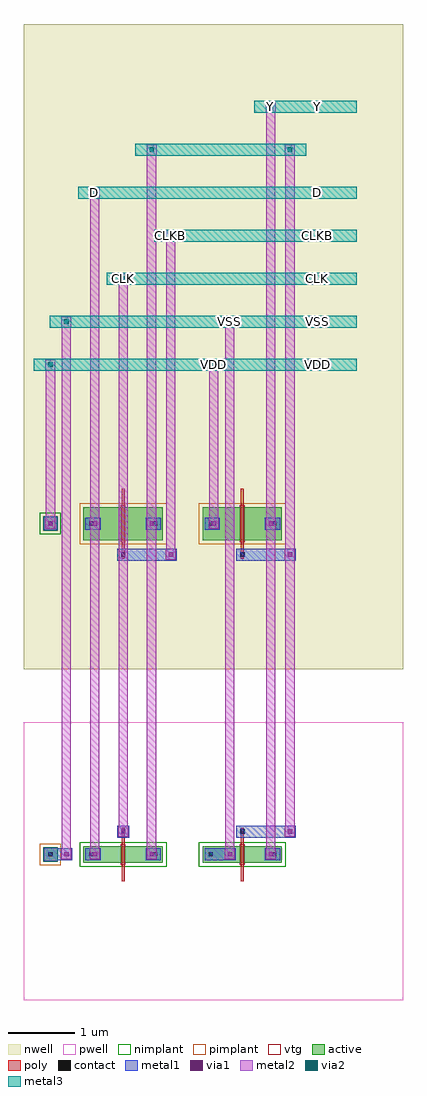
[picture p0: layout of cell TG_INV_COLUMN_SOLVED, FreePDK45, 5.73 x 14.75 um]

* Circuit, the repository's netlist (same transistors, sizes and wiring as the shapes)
.subckt TG_INV_COLUMN_SOLVED VDD VSS D CLK CLKB Y
M0 X CLKB D VDD PMOS_VTG W=0.5U L=0.05U
M1 X CLK D VSS NMOS_VTG W=0.25U L=0.05U
M2 Y X VDD VDD PMOS_VTG W=0.5U L=0.05U
M3 Y X VSS VSS NMOS_VTG W=0.25U L=0.05U
.ends TG_INV_COLUMN_SOLVED
.end

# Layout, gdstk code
import gdstk
lib = gdstk.Library(unit=1e-6, precision=5e-10)
def R(c, l, rs):  # rectangles x0, y0, x1, y1
    for r in rs: c.add(gdstk.rectangle(r[:2], r[2:], *l))
def A(c, l, x, y, w, h, nx, ny, dx, dy):  # array of equal rectangles
    R(c, l, [(x+i*dx, y+j*dy, x+i*dx+w, y+j*dy+h) for i in range(nx) for j in range(ny)])
active = (1, 0)
pwell = (2, 0)
nwell = (3, 0)
nimplant = (4, 0)
pimplant = (5, 0)
vtg = (6, 0)
poly = (9, 0)
contact = (10, 0)
metal1 = (11, 0)
via1 = (12, 0)
metal2 = (13, 0)
via2 = (14, 0)
metal3 = (15, 0)

tg_inv_column_solved = lib.new_cell('TG_INV_COLUMN_SOLVED')
R(tg_inv_column_solved, active, [(0.6,1.875,1.8,2.125), (2.4,1.875,3.6,2.125), (-0.01,1.89,0.21,2.11), (0.6,6.75,1.8,7.25), (2.4,6.75,3.6,7.25), (-0.01,6.89,0.21,7.11)])
R(tg_inv_column_solved, pwell, [(-0.3,-0.2,5.43,4)])
R(tg_inv_column_solved, nwell, [(-0.3,4.8,5.43,14.55)])
R(tg_inv_column_solved, nimplant, [(0.54,1.815,1.86,2.185), (2.34,1.815,3.66,2.185), (-0.06,6.84,0.26,7.16)])
R(tg_inv_column_solved, pimplant, [(-0.06,1.84,0.26,2.16), (0.54,6.69,1.86,7.31), (2.34,6.69,3.66,7.31)])
R(tg_inv_column_solved, vtg, [(1.165,1.845,1.235,2.155), (2.965,1.845,3.035,2.155), (1.165,6.72,1.235,7.28), (2.965,6.72,3.035,7.28)])
R(tg_inv_column_solved, poly, [(1.175,1.595,1.225,2.405), (2.975,1.595,3.025,2.405), (1.175,6.47,1.225,7.53), (2.975,6.47,3.025,7.53)])
R(tg_inv_column_solved, contact, [(0.07,1.97,0.135,2.035), (0.69,1.97,0.755,2.035), (1.65,1.97,1.715,2.035), (2.49,1.97,2.555,2.035), (3.45,1.97,3.515,2.035), (1.17,2.315,1.235,2.38), (2.97,2.315,3.035,2.38), (1.17,6.5,1.235,6.565), (2.97,6.5,3.035,6.565), (0.07,6.97,0.135,7.035), (0.69,6.97,0.755,7.035), (1.65,6.97,1.715,7.035), (2.49,6.97,2.555,7.035), (3.45,6.97,3.515,7.035)])
R(tg_inv_column_solved, metal1, [(0,1.9,0.2,2.1), (0.1,1.91,0.34,2.09), (0.1,1.91,0.34,2.09), (0.1,1.91,0.34,2.09), (0.25,1.91,0.43,2.09), (0.25,1.91,0.43,2.09), (0.25,1.91,0.43,2.09), (0.63,1.91,0.81,2.09), (0.68,1.91,0.86,2.09), (1.54,1.91,1.72,2.09), (1.59,1.91,1.77,2.09), (2.43,1.91,2.61,2.09), (2.57,1.91,2.81,2.09), (2.72,1.91,2.9,2.09), (3.34,1.91,3.52,2.09), (3.39,1.91,3.57,2.09), (1.11,2.255,1.29,2.435), (1.11,2.255,1.29,2.435), (2.91,2.255,3.09,2.435), (3,2.255,3.72,2.435), (3.63,2.255,3.81,2.435), (1.11,6.44,1.29,6.62), (1.2,6.44,1.92,6.62), (1.83,6.44,2.01,6.62), (2.91,6.44,3.09,6.62), (3,6.44,3.72,6.62), (3.63,6.44,3.81,6.62), (0,6.9,0.2,7.1), (0.01,6.91,0.19,7.09), (0.01,6.91,0.19,7.09), (0.01,6.91,0.19,7.09), (0.63,6.91,0.81,7.09), (0.68,6.91,0.86,7.09), (1.54,6.91,1.72,7.09), (1.59,6.91,1.77,7.09), (2.43,6.91,2.61,7.09), (2.48,6.91,2.66,7.09), (3.34,6.91,3.52,7.09), (3.39,6.91,3.57,7.09)])
R(tg_inv_column_solved, via1, [(0.31,1.97,0.375,2.035), (0.31,1.97,0.375,2.035), (0.31,1.97,0.375,2.035), (0.74,1.97,0.805,2.035), (1.6,1.97,1.665,2.035), (2.78,1.97,2.845,2.035), (3.4,1.97,3.465,2.035), (1.17,2.315,1.235,2.38), (3.69,2.315,3.755,2.38), (1.89,6.5,1.955,6.565), (3.69,6.5,3.755,6.565), (0.07,6.97,0.135,7.035), (0.07,6.97,0.135,7.035), (0.07,6.97,0.135,7.035), (0.74,6.97,0.805,7.035), (1.6,6.97,1.665,7.035), (2.54,6.97,2.605,7.035), (3.4,6.97,3.465,7.035)])
A(tg_inv_column_solved, metal2, 0.695, 1.925, 0.15, 0.15, 1, 3, 0, 5)
R(tg_inv_column_solved, metal2, [(0.265,1.925,0.415,2.075), (0.265,1.925,0.415,2.075), (0.265,1.925,0.415,2.075), (1.555,1.925,1.705,2.075), (2.735,1.925,2.885,2.075), (3.355,1.925,3.505,2.075), (0.27,2,0.41,10.05), (0.27,2,0.41,10.05), (0.27,2,0.41,10.05), (0.7,2,0.84,12), (1.56,2,1.7,12.65), (2.74,2,2.88,10.05), (3.36,2,3.5,13.3), (1.125,2.27,1.275,2.42), (3.645,2.27,3.795,2.42), (1.13,2.345,1.27,10.7), (3.65,2.345,3.79,12.65), (1.845,6.455,1.995,6.605), (3.645,6.455,3.795,6.605), (1.85,6.53,1.99,11.35), (3.65,6.53,3.79,12.65), (0.025,6.925,0.175,7.075), (0.025,6.925,0.175,7.075), (0.025,6.925,0.175,7.075), (1.555,6.925,1.705,7.075), (2.495,6.925,2.645,7.075), (3.355,6.925,3.505,7.075), (0.03,7,0.17,9.4), (0.03,7,0.17,9.4), (0.03,7,0.17,9.4), (0.7,7,0.84,12), (1.56,7,1.7,12.65), (2.5,7,2.64,9.4), (3.36,7,3.5,13.3), (0.025,9.325,0.175,9.475), (0.025,9.325,0.175,9.475), (0.025,9.325,0.175,9.475), (2.495,9.325,2.645,9.475), (0.265,9.975,0.415,10.125), (0.265,9.975,0.415,10.125), (0.265,9.975,0.415,10.125), (2.735,9.975,2.885,10.125), (1.125,10.625,1.275,10.775), (1.845,11.275,1.995,11.425), (0.695,11.925,0.845,12.075), (1.555,12.575,1.705,12.725), (1.555,12.575,1.705,12.725), (3.645,12.575,3.795,12.725), (3.645,12.575,3.795,12.725), (3.355,13.225,3.505,13.375), (3.355,13.225,3.505,13.375)])
R(tg_inv_column_solved, via2, [(0.07,9.37,0.135,9.435), (0.07,9.37,0.135,9.435), (0.07,9.37,0.135,9.435), (2.54,9.37,2.605,9.435), (0.31,10.02,0.375,10.085), (0.31,10.02,0.375,10.085), (0.31,10.02,0.375,10.085), (2.78,10.02,2.845,10.085), (1.17,10.67,1.235,10.735), (1.89,11.32,1.955,11.385), (0.74,11.97,0.805,12.035), (0.74,11.97,0.805,12.035), (1.6,12.62,1.665,12.685), (1.6,12.62,1.665,12.685), (3.69,12.62,3.755,12.685), (3.69,12.62,3.755,12.685), (3.4,13.27,3.465,13.335), (3.4,13.27,3.465,13.335)])
R(tg_inv_column_solved, metal3, [(-0.15,9.31,2.82,9.49), (2.82,9.31,4.73,9.49), (0.025,9.325,0.175,9.475), (0.025,9.325,0.175,9.475), (0.025,9.325,0.175,9.475), (2.495,9.325,2.645,9.475), (0.09,9.96,3.06,10.14), (3.06,9.96,4.73,10.14), (0.265,9.975,0.415,10.125), (0.265,9.975,0.415,10.125), (0.265,9.975,0.415,10.125), (2.735,9.975,2.885,10.125), (0.95,10.61,1.45,10.79), (1.45,10.61,4.73,10.79), (1.125,10.625,1.275,10.775), (1.67,11.26,2.17,11.44), (2.17,11.26,4.73,11.44), (1.845,11.275,1.995,11.425), (0.52,11.91,1.02,12.09), (1.02,11.91,4.73,12.09), (0.695,11.925,0.845,12.075), (0.695,11.925,0.845,12.075), (1.38,12.56,3.97,12.74), (1.555,12.575,1.705,12.725), (1.555,12.575,1.705,12.725), (3.645,12.575,3.795,12.725), (3.645,12.575,3.795,12.725), (3.18,13.21,3.68,13.39), (3.68,13.21,4.73,13.39), (3.355,13.225,3.505,13.375), (3.355,13.225,3.505,13.375)])
tg_inv_column_solved.add(gdstk.Label('VDD', (4.13,9.4), layer=15, texttype=0))
tg_inv_column_solved.add(gdstk.Label('VDD', (4.13,9.4), layer=15, texttype=1))
tg_inv_column_solved.add(gdstk.Label('VDD', (4.13,9.4), layer=15, texttype=2))
tg_inv_column_solved.add(gdstk.Label('VDD', (2.57,9.4), layer=13, texttype=0))
tg_inv_column_solved.add(gdstk.Label('VDD', (2.57,9.4), layer=13, texttype=1))
tg_inv_column_solved.add(gdstk.Label('VDD', (2.57,9.4), layer=13, texttype=2))
tg_inv_column_solved.add(gdstk.Label('VSS', (4.13,10.05), layer=15, texttype=0))
tg_inv_column_solved.add(gdstk.Label('VSS', (4.13,10.05), layer=15, texttype=1))
tg_inv_column_solved.add(gdstk.Label('VSS', (4.13,10.05), layer=15, texttype=2))
tg_inv_column_solved.add(gdstk.Label('VSS', (2.81,10.05), layer=13, texttype=0))
tg_inv_column_solved.add(gdstk.Label('VSS', (2.81,10.05), layer=13, texttype=1))
tg_inv_column_solved.add(gdstk.Label('VSS', (2.81,10.05), layer=13, texttype=2))
tg_inv_column_solved.add(gdstk.Label('D', (4.13,12), layer=15, texttype=0))
tg_inv_column_solved.add(gdstk.Label('D', (4.13,12), layer=15, texttype=1))
tg_inv_column_solved.add(gdstk.Label('D', (4.13,12), layer=15, texttype=2))
tg_inv_column_solved.add(gdstk.Label('D', (0.77,12), layer=13, texttype=0))
tg_inv_column_solved.add(gdstk.Label('D', (0.77,12), layer=13, texttype=1))
tg_inv_column_solved.add(gdstk.Label('D', (0.77,12), layer=13, texttype=2))
tg_inv_column_solved.add(gdstk.Label('CLK', (4.13,10.7), layer=15, texttype=0))
tg_inv_column_solved.add(gdstk.Label('CLK', (4.13,10.7), layer=15, texttype=1))
tg_inv_column_solved.add(gdstk.Label('CLK', (4.13,10.7), layer=15, texttype=2))
tg_inv_column_solved.add(gdstk.Label('CLK', (1.2,10.7), layer=13, texttype=0))
tg_inv_column_solved.add(gdstk.Label('CLK', (1.2,10.7), layer=13, texttype=1))
tg_inv_column_solved.add(gdstk.Label('CLK', (1.2,10.7), layer=13, texttype=2))
tg_inv_column_solved.add(gdstk.Label('CLKB', (4.13,11.35), layer=15, texttype=0))
tg_inv_column_solved.add(gdstk.Label('CLKB', (4.13,11.35), layer=15, texttype=1))
tg_inv_column_solved.add(gdstk.Label('CLKB', (4.13,11.35), layer=15, texttype=2))
tg_inv_column_solved.add(gdstk.Label('CLKB', (1.92,11.35), layer=13, texttype=0))
tg_inv_column_solved.add(gdstk.Label('CLKB', (1.92,11.35), layer=13, texttype=1))
tg_inv_column_solved.add(gdstk.Label('CLKB', (1.92,11.35), layer=13, texttype=2))
tg_inv_column_solved.add(gdstk.Label('Y', (4.13,13.3), layer=15, texttype=0))
tg_inv_column_solved.add(gdstk.Label('Y', (4.13,13.3), layer=15, texttype=1))
tg_inv_column_solved.add(gdstk.Label('Y', (4.13,13.3), layer=15, texttype=2))
tg_inv_column_solved.add(gdstk.Label('Y', (3.43,13.3), layer=13, texttype=0))
tg_inv_column_solved.add(gdstk.Label('Y', (3.43,13.3), layer=13, texttype=1))
tg_inv_column_solved.add(gdstk.Label('Y', (3.43,13.3), layer=13, texttype=2))

lib.write_gds('TG_INV_COLUMN_SOLVED.gds')
